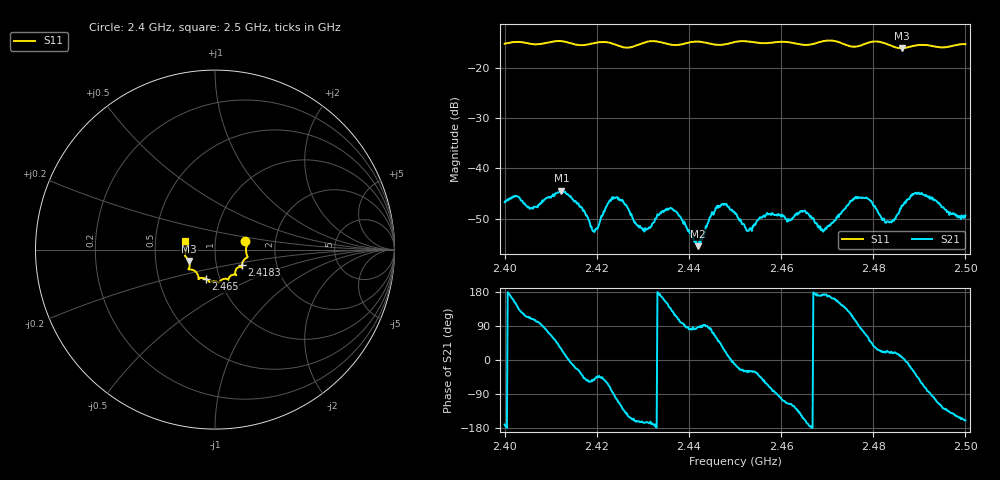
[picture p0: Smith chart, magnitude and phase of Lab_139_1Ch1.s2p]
# Hz S RI R 50
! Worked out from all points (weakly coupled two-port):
!   601 points, 2.4 GHz to 2.5 GHz, reference 50 ohm
!   highest |S21| = -44.46 dB at 2.4123 GHz (marker M1); lowest = -55.5 dB at 2.442 GHz (marker M2)
!   lowest |S11| = -16.0 dB at 2.4862 GHz (marker M3), VSWR 1.38, Z = 37.1 - j4.81 ohm
!   |S11| at or under -10 dB: start of sweep to end of sweep
!   S12 and S22 are empty: the file has one direction only
!   S11 on the Smith chart (normalised r, x): 2.4 GHz: 1.40, +0.13; 2.4183 GHz: 1.33, -0.24; 2.465 GHz: 0.86, -0.29; 2.5 GHz: 0.71, +0.07
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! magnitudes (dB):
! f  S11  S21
! 2.4 GHz  -15.1  -46.8
! 2.4058 GHz  -15.2  -47.9
! 2.4123 GHz  -14.6  -44.5
! 2.4167 GHz  -15.4  -47.8
! 2.4183 GHz  -15.2  -50.4
! 2.4198 GHz  -14.9  -52.1
! 2.4238 GHz  -15.2  -46.0
! 2.4302 GHz  -14.9  -52.1
! 2.4333 GHz  -14.7  -49.3
! 2.4368 GHz  -15.4  -48.5
! 2.442 GHz  -14.7  -55.5
! 2.4462 GHz  -15.3  -47.4
! 2.45 GHz  -14.8  -49.0
! 2.4532 GHz  -14.7  -52.0
! 2.465 GHz  -15.4  -48.5
! 2.4667 GHz  -15.2  -49.9
! 2.4695 GHz  -14.6  -52.3
! 2.4773 GHz  -15.5  -45.8
! 2.4833 GHz  -15.3  -50.6
! 2.4862 GHz  -16.0  -47.4
! 2.4902 GHz  -15.4  -45.0
! 2.5 GHz  -15.2  -49.4
